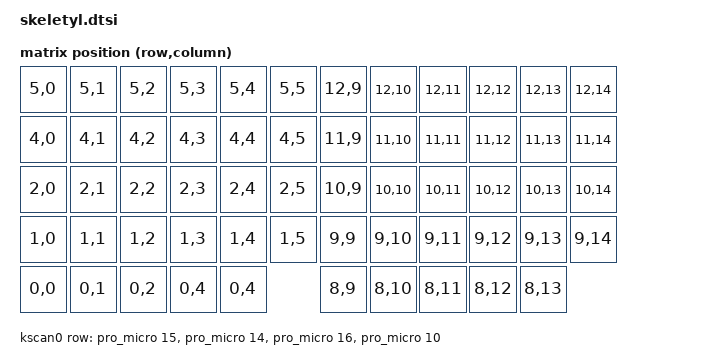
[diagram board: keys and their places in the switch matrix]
#include <dt-bindings/zmk/matrix_transform.h>

/ {
    chosen {
        zmk,kscan = &kscan0;
        zmk,matrix_transform = &default_transform;
    };

    default_transform: keymap_transform_0 {
        compatible = "zmk,matrix-transform";
        columns = <14>;
        rows = <5>;
// | SW1  | SW2  | SW3  | SW4  | SW5  |                 | SW5  | SW4  | SW3  | SW2  | SW1  |
// | SW6  | SW7  | SW8  | SW9  | SW10 |                 | SW10 | SW9  | SW8  | SW7  | SW6  |
// | SW11 | SW12 | SW13 | SW14 | SW15 |                 | SW15 | SW14 | SW13 | SW12 | SW11 |
//               | SW16 | SW17 | SW18 |                 | SW18 | SW17 | SW16 |

        map = <
RC(5,0) RC(5,1) RC(5,2) RC(5,3) RC(5,4) RC(5,5)          RC(12,9) RC(12,10) RC(12,11) RC(12,12) RC(12,13) RC(12,14)
RC(4,0) RC(4,1) RC(4,2) RC(4,3) RC(4,4) RC(4,5)          RC(11,9) RC(11,10) RC(11,11) RC(11,12) RC(11,13) RC(11,14)
RC(2,0) RC(2,1) RC(2,2) RC(2,3) RC(2,4) RC(2,5)          RC(10,9) RC(10,10) RC(10,11) RC(10,12) RC(10,13) RC(10,14)
RC(1,0) RC(1,1) RC(1,2) RC(1,3) RC(1,4) RC(1,5)          RC(9, 9) RC(9 ,10) RC(9 ,11) RC(9 ,12) RC(9 ,13) RC(9 ,14)
RC(0,0) RC(0,1) RC(0,2) RC(0,4) RC(0,4)                  RC(8, 9) RC(8 ,10) RC(8 ,11) RC(8 ,12) RC(8 ,13)
        >;
    };

    kscan0: kscan {
        compatible = "zmk,kscan-gpio-matrix";
        label = "KSCAN";

        diode-direction = "col2row";
        row-gpios
            = <&pro_micro 15 (GPIO_ACTIVE_HIGH | GPIO_PULL_DOWN)>
            , <&pro_micro 14 (GPIO_ACTIVE_HIGH | GPIO_PULL_DOWN)>
            , <&pro_micro 16 (GPIO_ACTIVE_HIGH | GPIO_PULL_DOWN)>
            , <&pro_micro 10 (GPIO_ACTIVE_HIGH | GPIO_PULL_DOWN)>
            ;

    };
};
